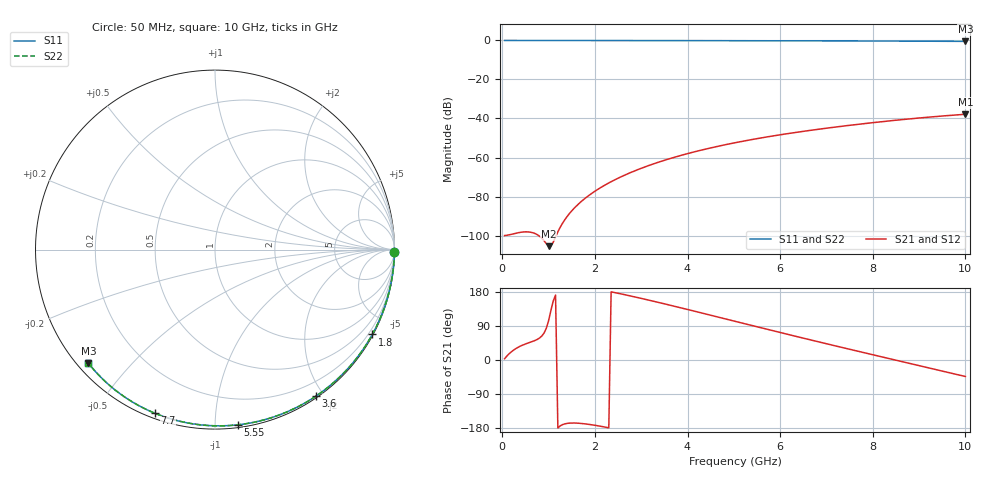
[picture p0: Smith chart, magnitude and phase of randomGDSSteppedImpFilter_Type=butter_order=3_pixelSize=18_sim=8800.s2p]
! freq	dB(S11)	phase(S11)	dB(S12)	phase(S12)
!  dB(S21)	phase(S21)	dB(S22)	phase(S22)
!S-par simulation data
#  GHz  S  DB  R 50
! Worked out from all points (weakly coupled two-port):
!   200 points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, 50 MHz to 10 GHz, reference 50 ohm
!   highest |S21| = -37.84 dB at 10 GHz (marker M1); lowest = -105.4 dB at 1 GHz (marker M2)
!   lowest |S11| = -0.5 dB at 10 GHz (marker M3), VSWR 37.18, Z = 1.54 - j19.1 ohm
!   |S11| at or under -10 dB: nowhere
!   |S22| runs from -0.5 to 0.0 dB; largest |S21 - S12| = 0
!   S11 on the Smith chart (normalised r, x): 50 MHz: open; 1.8 GHz: 0.03, -3.96; 3.6 GHz: 0.02, -1.91; 5.55 GHz: 0.02, -1.14; 7.7 GHz: 0.02, -0.70; 10 GHz: 0.03, -0.38
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0.05  -0.00 -0.8  -99.99 3.2  -99.99 3.2  -0.00 -0.8
0.5  -0.01 -8.0  -98.10 42.3  -98.10 42.3  -0.01 -8.0
1  -0.02 -15.9  -105.44 103.8  -105.44 103.8  -0.02 -15.9
1.75  -0.04 -27.6  -81.64 -168.0  -81.64 -168.0  -0.04 -27.6
1.8  -0.04 -28.3  -80.68 -168.7  -80.68 -168.7  -0.04 -28.3
1.85  -0.04 -29.1  -79.78 -169.5  -79.78 -169.5  -0.04 -29.1
2  -0.04 -31.4  -77.27 -172.3  -77.27 -172.3  -0.04 -31.4
2.15  -0.04 -33.7  -75.04 -175.5  -75.04 -175.5  -0.04 -33.7
2.35  -0.05 -36.7  -72.39 179.9  -72.39 179.9  -0.05 -36.7
2.55  -0.05 -39.8  -70.03 174.8  -70.03 174.8  -0.05 -39.8
2.95  -0.06 -45.8  -65.98 164.0  -65.98 164.0  -0.06 -45.8
3.4  -0.07 -52.4  -62.18 151.2  -62.18 151.2  -0.07 -52.4
3.6  -0.07 -55.3  -60.69 145.3  -60.69 145.3  -0.07 -55.3
4.3  -0.09 -65.4  -56.19 124.3  -56.19 124.3  -0.09 -65.4
5.05  -0.12 -75.8  -52.31 101.4  -52.31 101.4  -0.12 -75.8
5.55  -0.14 -82.5  -50.11 86.2  -50.11 86.2  -0.14 -82.5
6.1  -0.16 -89.8  -47.98 69.6  -47.98 69.6  -0.16 -89.8
6.7  -0.19 -97.6  -45.91 51.7  -45.91 51.7  -0.19 -97.6
7.7  -0.25 -110.2  -42.93 22.5  -42.93 22.5  -0.25 -110.2
8.35  -0.30 -118.2  -41.25 3.8  -41.25 3.8  -0.30 -118.2
9.2  -0.38 -128.5  -39.32 -20.6  -39.32 -20.6  -0.38 -128.5
10  -0.47 -138.1  -37.84 -43.5  -37.84 -43.5  -0.47 -138.1
